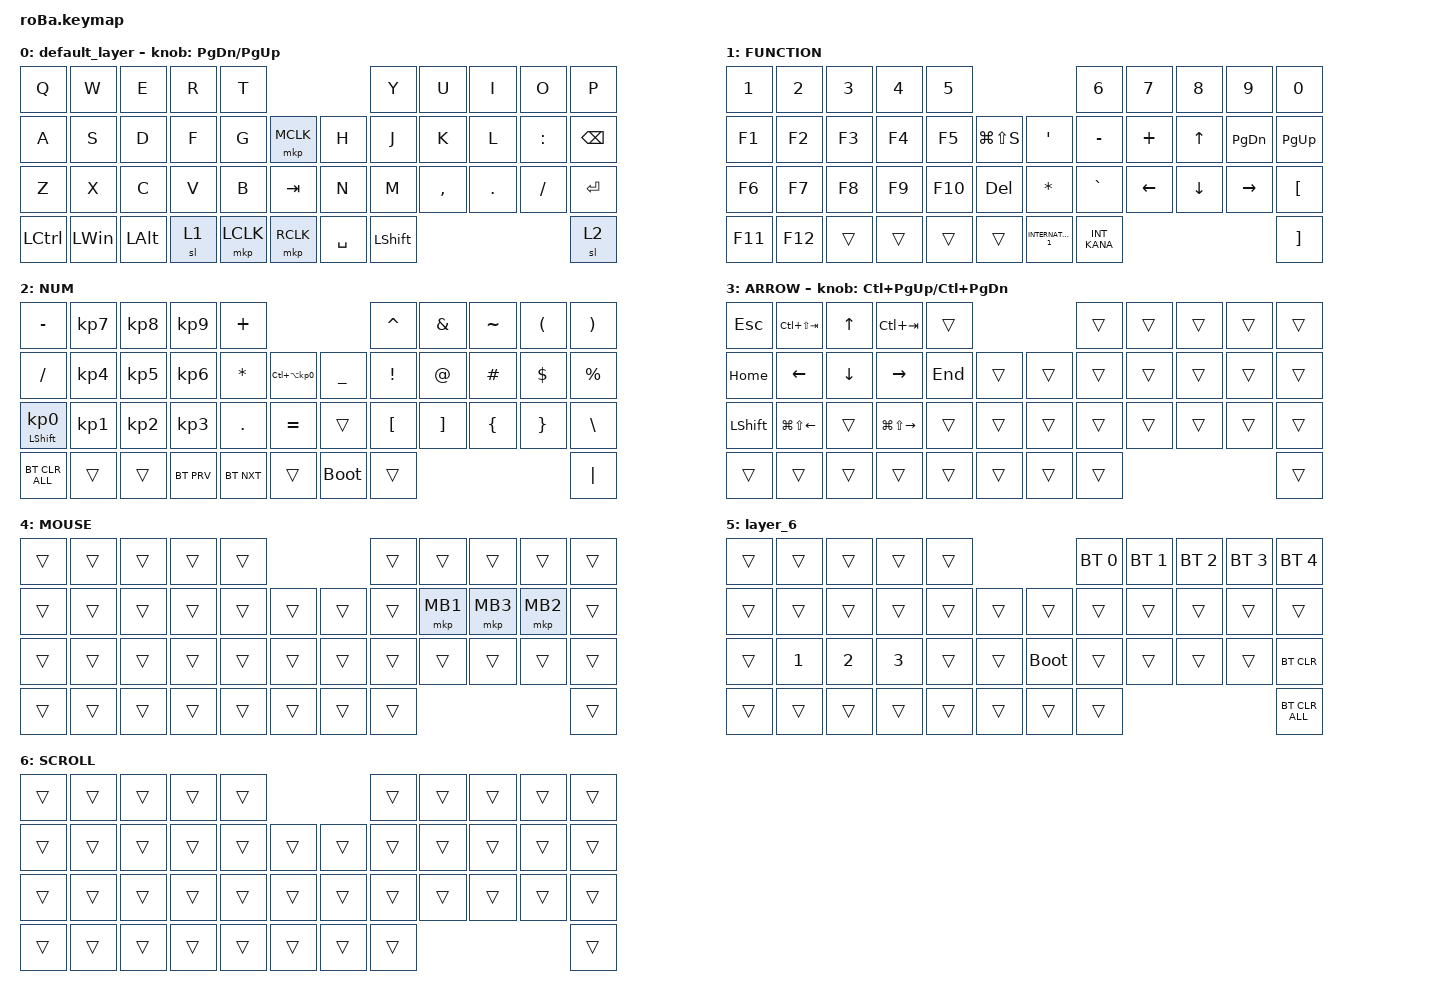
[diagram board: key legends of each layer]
#include <behaviors.dtsi>
#include <dt-bindings/zmk/bt.h>
#include <dt-bindings/zmk/keys.h>
#include <dt-bindings/zmk/pointing.h>

&mt {
    flavor = "balanced";
    quick-tap-ms = <0>;
};

&trackball {
    automouse-layer = <4>;
    scroll-layers = <5>;
};

/ {
    combos {
        compatible = "zmk,combos";

        tab {
            bindings = <&kp TAB>;
            key-positions = <11 12>;
        };

        shift_tab {
            bindings = <&kp LS(TAB)>;
            key-positions = <12 13>;
        };

        muhennkann {
            bindings = <&to_layer_0 INT_MUHENKAN>;
            key-positions = <11 10>;
        };

        double_quotation {
            bindings = <&kp DOUBLE_QUOTES>;
            key-positions = <20 21>;
        };

        eq {
            bindings = <&kp EQUAL>;
            key-positions = <24 25>;
        };
    };

    macros {
        to_layer_0: to_layer_0 {
            compatible = "zmk,behavior-macro-one-param";
            #binding-cells = <1>;
            bindings = <&to 0 &macro_param_1to1 &kp MACRO_PLACEHOLDER>;
            label = "TO_LAYER_0";
        };
    };

    behaviors {
        lt_to_layer_0: lt_to_layer_0 {
            compatible = "zmk,behavior-hold-tap";
            label = "LAYER_TAP_TO_0";
            bindings = <&mo>, <&to_layer_0>;

            #binding-cells = <2>;
            tapping-term-ms = <200>;
        };

        scroll_encoder: scroll_encoder {
            compatible = "zmk,behavior-sensor-rotate";
            #sensor-binding-cells = <0>;
            bindings = <&msc SCRL_UP>, <&msc SCRL_DOWN>;
        };
    };

    keymap {
        compatible = "zmk,keymap";

        default_layer {
            bindings = <
&kp Q      &kp W         &kp E         &kp R  &kp T                                &kp Y       &kp U      &kp I       &kp O      &kp P
&kp A      &kp S         &kp D         &kp F  &kp G      &mkp MCLK      &kp H      &kp J       &kp K      &kp L       &kp COLON  &kp BACKSPACE
&kp Z      &kp X         &kp C         &kp V  &kp B      &kp TAB        &kp N      &kp M       &kp COMMA  &kp PERIOD  &kp SLASH  &kp ENTER
&kp LCTRL  &kp LEFT_WIN  &kp LEFT_ALT  &sl 1  &mkp LCLK  &mkp RCLK      &kp SPACE  &kp LSHIFT                                    &sl 2
            >;

            sensor-bindings = <&inc_dec_kp PG_DN PG_UP>;
        };

        FUNCTION {
            bindings = <
&kp NUMBER_1  &kp NUMBER_2  &kp NUMBER_3  &kp NUMBER_4  &kp N5                                           &kp NUMBER_6  &kp N7    &kp N8        &kp N9           &kp N0
&kp F1        &kp F2        &kp F3        &kp F4        &kp F5   &kp LG(LS(S))      &kp SQT              &kp MINUS     &kp PLUS  &kp UP_ARROW  &kp PAGE_DOWN    &kp PAGE_UP
&kp F6        &kp F7        &kp F8        &kp F9        &kp F10  &kp DEL            &kp ASTERISK         &kp GRAVE     &kp LEFT  &kp DOWN      &kp RIGHT_ARROW  &kp LEFT_BRACKET
&kp F11       &kp F12       &trans        &trans        &trans   &trans             &kp INTERNATIONAL_1  &kp INT_KANA                                           &kp RIGHT_BRACKET
            >;
        };

        NUM {
            bindings = <
&kp MINUS                   &kp KP_NUMBER_7  &kp KP_NUMBER_8  &kp KP_NUMBER_9  &kp PLUS                                                   &kp CARET         &kp AMPERSAND      &kp TILDE       &kp LEFT_PARENTHESIS  &kp RIGHT_PARENTHESIS
&kp SLASH                   &kp KP_NUMBER_4  &kp KP_NUMBER_5  &kp KP_NUMBER_6  &kp ASTERISK  &kp LC(LA(KP_NUMBER_0))      &kp UNDERSCORE  &kp EXCLAMATION   &kp AT_SIGN        &kp HASH        &kp DOLLAR            &kp PERCENT
&mt LEFT_SHIFT KP_NUMBER_0  &kp KP_NUMBER_1  &kp KP_NUMBER_2  &kp KP_NUMBER_3  &kp PERIOD    &kp EQUAL                    &trans          &kp LEFT_BRACKET  &kp RIGHT_BRACKET  &kp LEFT_BRACE  &kp RIGHT_BRACE       &kp BACKSLASH
&bt BT_CLR_ALL              &trans           &trans           &bt BT_PRV       &bt BT_NXT    &trans                       &bootloader     &trans                                                                     &kp PIPE
            >;
        };

        ARROW {
            bindings = <
&kp ESCAPE      &kp LC(LS(TAB))         &kp UP_ARROW    &kp LC(TAB)              &trans                       &trans  &trans  &trans  &trans  &trans
&kp HOME        &kp LEFT_ARROW          &kp DOWN_ARROW  &kp RIGHT_ARROW          &kp END  &trans      &trans  &trans  &trans  &trans  &trans  &trans
&kp LEFT_SHIFT  &kp LG(LS(LEFT_ARROW))  &trans          &kp LG(LS(RIGHT_ARROW))  &trans   &trans      &trans  &trans  &trans  &trans  &trans  &trans
&trans          &trans                  &trans          &trans                   &trans   &trans      &trans  &trans                          &trans
            >;

            sensor-bindings = <&inc_dec_kp LC(PAGE_UP) LC(PAGE_DOWN)>;
        };

        MOUSE {
            bindings = <
&trans  &trans  &trans  &trans  &trans                      &trans  &trans    &trans    &trans    &trans
&trans  &trans  &trans  &trans  &trans  &trans      &trans  &trans  &mkp MB1  &mkp MB3  &mkp MB2  &trans
&trans  &trans  &trans  &trans  &trans  &trans      &trans  &trans  &trans    &trans    &trans    &trans
&trans  &trans  &trans  &trans  &trans  &trans      &trans  &trans                                &trans
            >;
        };

        layer_6 {
            bindings = <
&trans  &trans        &trans        &trans        &trans                           &bt BT_SEL 0  &bt BT_SEL 1  &bt BT_SEL 2  &bt BT_SEL 3  &bt BT_SEL 4
&trans  &trans        &trans        &trans        &trans  &trans      &trans       &trans        &trans        &trans        &trans        &trans
&trans  &kp NUMBER_1  &kp NUMBER_2  &kp NUMBER_3  &trans  &trans      &bootloader  &trans        &trans        &trans        &trans        &bt BT_CLR
&trans  &trans        &trans        &trans        &trans  &trans      &trans       &trans                                                  &bt BT_CLR_ALL
            >;
        };

        SCROLL {
            bindings = <
&trans  &trans  &trans  &trans  &trans                      &trans  &trans  &trans  &trans  &trans
&trans  &trans  &trans  &trans  &trans  &trans      &trans  &trans  &trans  &trans  &trans  &trans
&trans  &trans  &trans  &trans  &trans  &trans      &trans  &trans  &trans  &trans  &trans  &trans
&trans  &trans  &trans  &trans  &trans  &trans      &trans  &trans                          &trans
            >;
        };
    };
};
